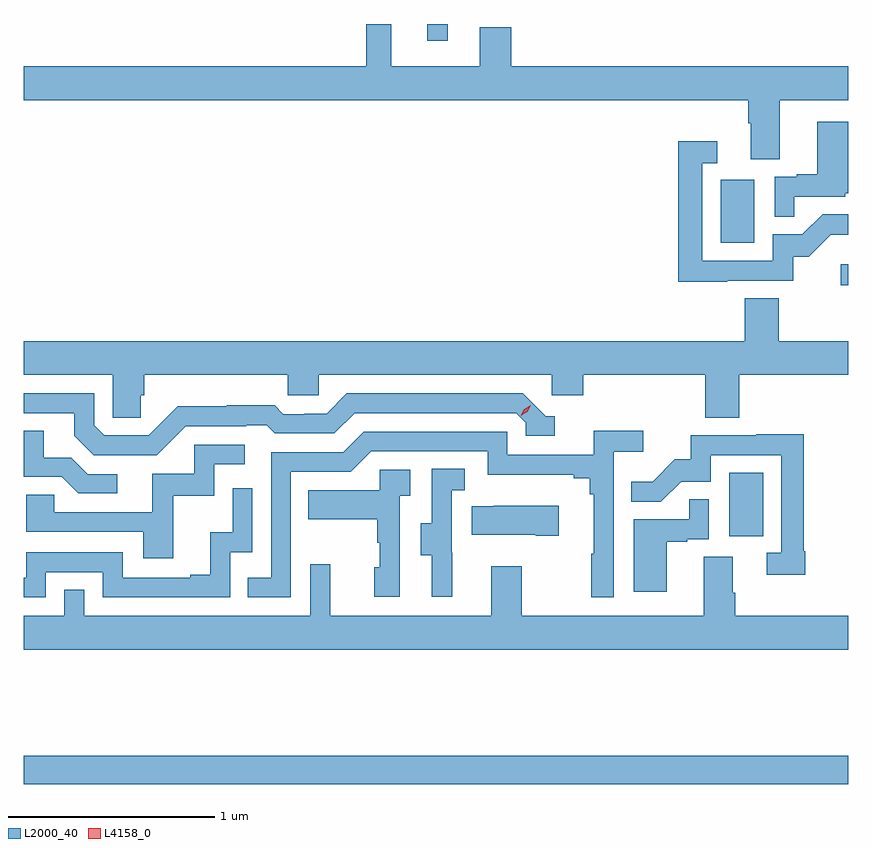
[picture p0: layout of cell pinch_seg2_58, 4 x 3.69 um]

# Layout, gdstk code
import gdstk
lib = gdstk.Library(unit=1e-6, precision=1e-09)
def R(c, l, rs):  # rectangles x0, y0, x1, y1
    for r in rs: c.add(gdstk.rectangle(r[:2], r[2:], *l))
def P(c, l, *ps):  # polygons
    for p in ps: c.add(gdstk.Polygon(p, *l))
L2000_40 = (2000, 40)
L4158_0 = (4158, 0)

pinch_seg2_58 = lib.new_cell('pinch_seg2_58')
R(pinch_seg2_58, L2000_40, [(1034.844,658.972,1038.844,659.108), (1038.266,660.174,1038.43,660.481), (1038.807,661.39,1038.844,661.492), (1038.224,661.596,1038.388,661.903), (1036.802,662.577,1036.9,662.658)])
P(pinch_seg2_58, L2000_40, [(1038.511,662.288),(1038.844,662.288),(1038.844,662.452),(1037.21,662.452),(1037.21,662.642),(1037.057,662.642),(1037.057,662.452),(1036.627,662.452),(1036.627,662.658),(1036.506,662.658),(1036.506,662.452),(1034.844,662.452),(1034.844,662.288),(1038.359,662.288),(1038.359,662.176),(1038.371,662.176),(1038.371,662.002),(1038.511,662.002)],
  [(1038.581,661.821),(1038.828,661.821),(1038.828,661.836),(1038.844,661.836),(1038.844,662.185),(1038.692,662.185),(1038.692,661.93),(1038.593,661.93),(1038.593,661.917),(1038.486,661.917),(1038.486,661.723),(1038.581,661.723)],
  [(1038.257,661.413),(1038.576,661.413),(1038.576,661.53),(1038.652,661.53),(1038.759,661.637),(1038.844,661.637),(1038.844,661.736),(1038.719,661.736),(1038.621,661.638),(1038.477,661.638),(1038.477,661.509),(1038.135,661.509),(1038.135,661.983),(1038.208,661.983),(1038.208,662.089),(1038.019,662.089),(1038.019,661.408),(1038.257,661.408)],
  [(1035.413,660.858),(1035.428,660.858),(1035.428,660.956),(1036.125,660.956),(1036.125,660.858),(1036.275,660.858),(1036.275,660.956),(1037.406,660.956),(1037.406,660.858),(1037.558,660.858),(1037.558,660.956),(1038.149,660.956),(1038.149,660.748),(1038.314,660.748),(1038.314,660.956),(1038.844,660.956),(1038.844,661.12),(1038.506,661.12),(1038.506,661.328),(1038.341,661.328),(1038.341,661.12),(1034.844,661.12),(1034.844,660.956),(1035.276,660.956),(1035.276,660.748),(1035.413,660.748)],
  [(1035.63,660.708),(1035.923,660.708),(1035.923,660.711),(1036.022,660.711),(1036.061,660.672),(1036.35,660.672),(1036.449,660.771),(1037.232,660.771),(1037.28,660.723),(1037.28,660.66),(1037.419,660.66),(1037.419,660.756),(1037.376,660.756),(1037.265,660.867),(1036.412,660.867),(1036.313,660.768),(1036.206,660.768),(1036.206,660.765),(1036.103,660.765),(1036.061,660.808),(1035.828,660.808),(1035.828,660.805),(1035.592,660.805),(1035.45,660.663),(1035.234,660.663),(1035.186,660.711),(1035.186,660.867),(1034.844,660.867),(1034.844,660.771),(1035.089,660.771),(1035.089,660.661),(1035.183,660.567),(1035.489,660.567)],
  [(1036.14,660.486),(1036.431,660.486),(1036.53,660.585),(1037.094,660.585),(1037.094,660.473),(1037.513,660.473),(1037.513,660.454),(1037.59,660.454),(1037.59,660.377),(1037.609,660.377),(1037.609,660.089),(1037.598,660.089),(1037.598,659.877),(1037.706,659.877),(1037.706,660.584),(1037.848,660.584),(1037.848,660.686),(1037.609,660.686),(1037.609,660.57),(1037.19,660.57),(1037.19,660.681),(1036.493,660.681),(1036.394,660.582),(1036.044,660.582),(1036.044,659.973),(1035.931,659.973),(1035.931,659.877),(1036.14,659.877)],
  [(1035.298,660.474),(1035.156,660.474),(1035.076,660.554),(1034.941,660.554),(1034.941,660.686),(1034.844,660.686),(1034.844,660.462),(1035.029,660.462),(1035.11,660.381),(1035.298,660.381)],
  [(1038.635,660.1),(1038.628,660.1),(1038.628,660.668),(1038.397,660.668),(1038.397,660.663),(1038.079,660.663),(1038.079,660.546),(1038.002,660.546),(1037.895,660.439),(1037.791,660.439),(1037.791,660.34),(1037.935,660.34),(1038.033,660.438),(1038.177,660.438),(1038.177,660.567),(1038.519,660.567),(1038.519,660.093),(1038.447,660.093),(1038.447,659.988),(1038.635,659.988)],
  [(1035.569,660.369),(1035.768,660.369),(1035.768,660.522),(1035.916,660.522),(1035.916,660.618),(1035.672,660.618),(1035.672,660.477),(1035.467,660.477),(1035.467,660.291),(1034.993,660.291),(1034.993,660.375),(1034.856,660.375),(1034.856,660.195),(1035.425,660.195),(1035.425,660.066),(1035.569,660.066)],
  [(1036.922,660.093),(1036.92,660.093),(1036.92,660.397),(1036.984,660.397),(1036.984,660.5),(1036.824,660.5),(1036.824,660.237),(1036.769,660.237),(1036.769,660.082),(1036.823,660.082),(1036.823,659.88),(1036.922,659.88)],
  [(1036.668,660.371),(1036.72,660.371),(1036.72,660.495),(1036.572,660.495),(1036.572,660.397),(1036.225,660.397),(1036.225,660.257),(1036.56,660.257),(1036.56,660.143),(1036.57,660.143),(1036.57,660.024),(1036.544,660.024),(1036.544,659.88),(1036.668,659.88)],
  [(1034.952,660),(1035.228,660),(1035.228,659.877),(1035.846,659.877),(1035.846,660.096),(1035.954,660.096),(1035.954,660.406),(1035.858,660.406),(1035.858,660.194),(1035.749,660.194),(1035.749,659.986),(1035.653,659.986),(1035.653,659.973),(1035.324,659.973),(1035.324,660.096),(1034.856,660.096),(1034.856,659.973),(1034.844,659.973),(1034.844,659.877),(1034.952,659.877)],
  [(1037.962,660.147),(1038.062,660.147),(1038.062,660.159),(1038.168,660.159),(1038.168,660.353),(1038.073,660.353),(1038.073,660.255),(1037.804,660.255),(1037.804,659.904),(1037.962,659.904)],
  [(1037.44,660.322),(1037.125,660.322),(1037.125,660.319),(1037.017,660.319),(1037.017,660.182),(1037.327,660.182),(1037.327,660.175),(1037.44,660.175)],
  [(1038.844,659.788),(1038.296,659.788),(1038.296,659.9),(1038.283,659.9),(1038.283,660.074),(1038.143,660.074),(1038.143,659.788),(1037.259,659.788),(1037.259,660.028),(1037.111,660.028),(1037.111,659.788),(1036.331,659.788),(1036.331,660.037),(1036.233,660.037),(1036.233,659.788),(1035.138,659.788),(1035.138,659.915),(1035.042,659.915),(1035.042,659.788),(1034.844,659.788),(1034.844,659.624),(1038.844,659.624)])
P(pinch_seg2_58, L4158_0, [(1037.256,660.757),(1037.256,660.758),(1037.272,660.79),(1037.303,660.809),(1037.303,660.809),(1037.303,660.809),(1037.287,660.777),(1037.256,660.757)])

lib.write_gds('pinch_seg2_58.gds')
